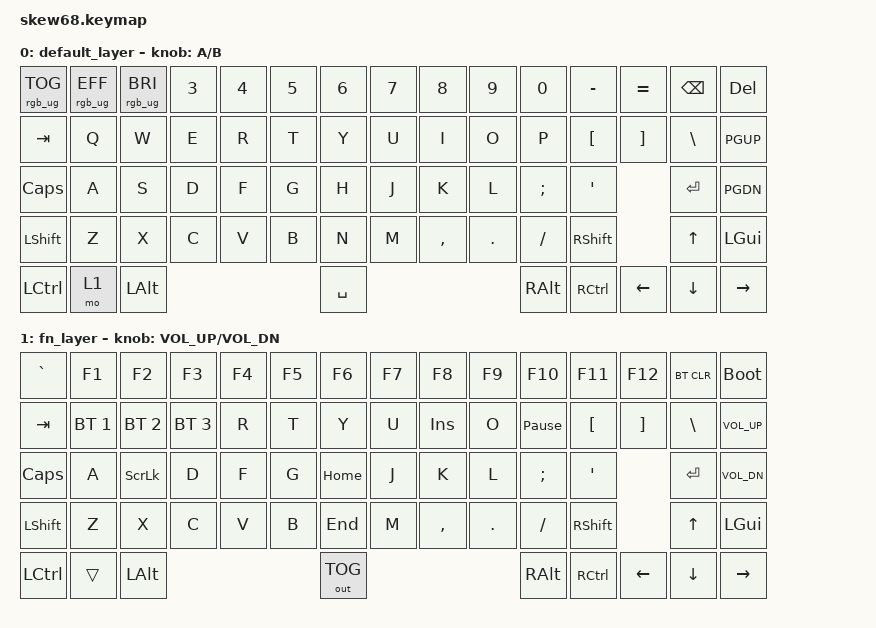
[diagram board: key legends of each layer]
/*
 * Copyright (c) 2020 The ZMK Contributors
 *
 * SPDX-License-Identifier: MIT
 */

#include <behaviors.dtsi>
#include <dt-bindings/zmk/bt.h>
#include <dt-bindings/zmk/keys.h>
#include <dt-bindings/zmk/outputs.h>
#include <dt-bindings/zmk/rgb.h>

/ {
    // 定义旋钮
    // 定义旋钮

    keymap0: keymap {
        compatible = "zmk,keymap";

        default_layer {
            // -----------------------------------------------------------------------------------------------------
            // | ESC |  1  |  2  |  3  |  4  |  5  |  6  |  7  |  8  |  9  |  0  |  -  |  =  |   BKSP   |   DEL    |
            // | TAB  |  Q  |  W  |  E  |  R  |  T  |  Y  |  U  |  I  |  O  |  P  |  [  |  ]  |   "|"   |  PGUP    |
            // | CAPS  |  A  |  S  |  D  |  F  |  G  |  H  |  J  |  K  |  L  |  ;  |  '  |     ENTER    |  PGDN    |
            // |  SHIFT  |  Z  |  X  |  C  |  V  |  B  |  N  |  M  |  ,  |  .  |  /  |   SHIFT   |   UP   |  WIN   |
            // |  CTL  |  fn  |  ALT  |    SPACE                SPACE    |  ALT  |  CTL  |  LEFT |  DOWN  | RIGHT  |
            // -----------------------------------------------------------------------------------------------------

            bindings = <
&rgb_ug RGB_TOG  &rgb_ug RGB_EFF  &rgb_ug RGB_BRI  &kp N3  &kp N4  &kp N5  &kp N6     &kp N7  &kp N8     &kp N9   &kp N0    &kp MINUS  &kp EQUAL  &kp BSPC  &kp DEL
&kp TAB          &kp Q            &kp W            &kp E   &kp R   &kp T   &kp Y      &kp U   &kp I      &kp O    &kp P     &kp LBKT   &kp RBKT   &kp BSLH  &kp PGUP
&kp CLCK         &kp A            &kp S            &kp D   &kp F   &kp G   &kp H      &kp J   &kp K      &kp L    &kp SEMI  &kp SQT               &kp RET   &kp PGDN
&kp LSHFT        &kp Z            &kp X            &kp C   &kp V   &kp B   &kp N      &kp M   &kp COMMA  &kp DOT  &kp FSLH  &kp RSHFT             &kp UP    &kp LGUI
&kp LCTRL        &mo 1            &kp LALT                                 &kp SPACE                              &kp RALT  &kp RCTRL  &kp LEFT   &kp DOWN  &kp RIGHT
            >;

            // 定义旋钮

            sensor-bindings = <&inc_dec_kp A B>;

            // 定义旋钮
        };

        fn_layer {
            // ------------------------------------------------------------------------------------------------------
            // | ~   |  F1 |  F2 |  F3 |  F4 |  F5 |  F6 |  F7 |  F8 |  F9 | F10 |  F11 |  F12 |  BT_CLR   |  BOOT  |
            // | TAB | BT1 |  BT2 |  BT3 |  R  |  T  |  Y  |  U  |  INS  |  O  |  PB  |  [  |  ]  |   "|"  |  VOLUP |
            // | CAPS  |  A  |  SLCK  |  D  |  F  |  G  | HOME|  J  |  K  |  L  |  ;  |  '  |     ENTER    |  VOLDN |
            // |  SHIFT  |  Z  |  X  |  C  |  V  |  B  |  END |  M  |  ,  |  .  |  /  |   SHIFT   |   UP   |  WIN   |
            // |  CTL  |  fn  |  ALT  |            trans USB/BT          |  ALT  |  CTL  |  LEFT  |  DOWN  | RIGHT  |
            // ------------------------------------------------------------------------------------------------------

            bindings = <
&kp GRAVE  &kp F1        &kp F2        &kp F3        &kp F4  &kp F5  &kp F6        &kp F7  &kp F8     &kp F9   &kp F10          &kp F11    &kp F12   &bt BT_CLR  &bootloader
&kp TAB    &bt BT_SEL 1  &bt BT_SEL 2  &bt BT_SEL 3  &kp R   &kp T   &kp Y         &kp U   &kp INS    &kp O    &kp PAUSE_BREAK  &kp LBKT   &kp RBKT  &kp BSLH    &kp C_VOL_UP
&kp CLCK   &kp A         &kp SLCK      &kp D         &kp F   &kp G   &kp HOME      &kp J   &kp K      &kp L    &kp SEMI         &kp SQT              &kp RET     &kp C_VOL_DN
&kp LSHFT  &kp Z         &kp X         &kp C         &kp V   &kp B   &kp END       &kp M   &kp COMMA  &kp DOT  &kp FSLH         &kp RSHFT            &kp UP      &kp LGUI
&kp LCTRL  &trans        &kp LALT                                    &out OUT_TOG                              &kp RALT         &kp RCTRL  &kp LEFT  &kp DOWN    &kp RIGHT
            >;

            // 定义旋钮

            sensor-bindings = <&inc_dec_kp C_VOL_UP C_VOL_DN>;

            // 定义旋钮
        };
    };
};
